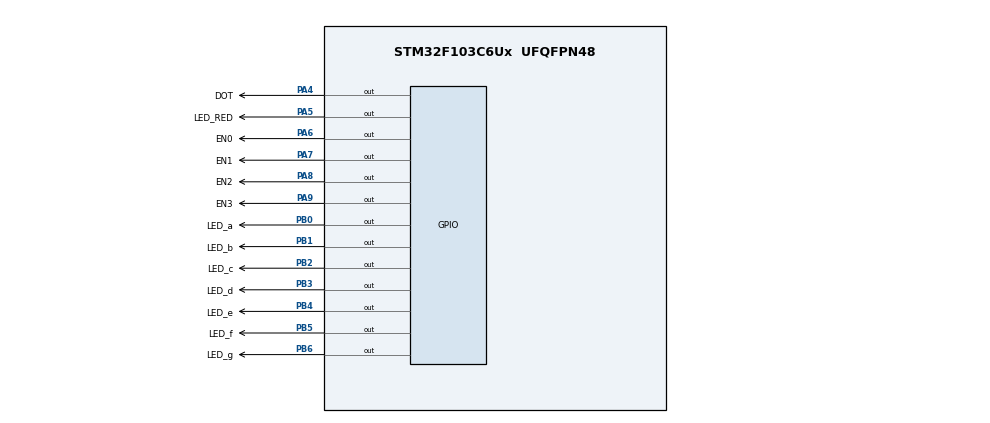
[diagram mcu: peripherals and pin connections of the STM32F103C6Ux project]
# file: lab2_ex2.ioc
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Mcu.Family=STM32F1
Mcu.Name=STM32F103C6Ux
Mcu.Package=UFQFPN48
NVIC.PriorityGroup=NVIC_PRIORITYGROUP_4
NVIC.TIM2_IRQn=true\:0\:0\:false\:false\:true\:true\:true\:true
PA4.GPIO_Label=DOT
PA4.Signal=GPIO_Output
PA5.GPIO_Label=LED_RED
PA5.Signal=GPIO_Output
PA6.GPIO_Label=EN0
PA6.Signal=GPIO_Output
PA7.GPIO_Label=EN1
PA7.Signal=GPIO_Output
PA8.GPIO_Label=EN2
PA8.Signal=GPIO_Output
PA9.GPIO_Label=EN3
PA9.Signal=GPIO_Output
PB0.GPIO_Label=LED_a
PB0.Signal=GPIO_Output
PB1.GPIO_Label=LED_b
PB1.Signal=GPIO_Output
PB2.GPIO_Label=LED_c
PB2.Signal=GPIO_Output
PB3.GPIO_Label=LED_d
PB3.Signal=GPIO_Output
PB4.GPIO_Label=LED_e
PB4.Signal=GPIO_Output
PB5.GPIO_Label=LED_f
PB5.Signal=GPIO_Output
PB6.GPIO_Label=LED_g
PB6.Signal=GPIO_Output
ProjectManager.HeapSize=0x200
ProjectManager.StackSize=0x400
ProjectManager.TargetToolchain=STM32CubeIDE
RCC.APB1Freq_Value=8000000
RCC.APB2Freq_Value=8000000
TIM2.Period=9
TIM2.Prescaler=7999
VP_SYS_VS_ND.Mode=No_Debug
VP_TIM2_VS_ClockSourceINT.Mode=Internal
board=custom

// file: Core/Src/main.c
/* USER CODE BEGIN Header */
/**
  ******************************************************************************
  * @file           : main.c
  * @brief          : Main program body
  ******************************************************************************
  * @attention
  *
  * Copyright (c) 2025 STMicroelectronics.
  * All rights reserved.
  *
  * This software is licensed under terms that can be found in the LICENSE file
  * in the root directory of this software component.
  * If no LICENSE file comes with this software, it is provided AS-IS.
  *
  ******************************************************************************
  */
/* USER CODE END Header */
#include "main.h"

TIM_HandleTypeDef htim2;

void SystemClock_Config(void);
static void MX_GPIO_Init(void);
static void MX_TIM2_Init(void);

/* USER CODE BEGIN 0 */

void clear7SEG() {
    HAL_GPIO_WritePin(LED_a_GPIO_Port, LED_a_Pin, GPIO_PIN_SET);
    HAL_GPIO_WritePin(LED_b_GPIO_Port, LED_b_Pin, GPIO_PIN_SET);
    HAL_GPIO_WritePin(LED_c_GPIO_Port, LED_c_Pin, GPIO_PIN_SET);
    HAL_GPIO_WritePin(LED_d_GPIO_Port, LED_d_Pin, GPIO_PIN_SET);
    HAL_GPIO_WritePin(LED_e_GPIO_Port, LED_e_Pin, GPIO_PIN_SET);
    HAL_GPIO_WritePin(LED_f_GPIO_Port, LED_f_Pin, GPIO_PIN_SET);
    HAL_GPIO_WritePin(LED_g_GPIO_Port, LED_g_Pin, GPIO_PIN_SET);
}

void display7SEG(int num){
	  // common anode => set = off; reset= on
	  clear7SEG();
	  switch(num){
	  case 0:
		  HAL_GPIO_WritePin(LED_g_GPIO_Port, LED_g_Pin, SET);

		  HAL_GPIO_WritePin(LED_a_GPIO_Port, LED_a_Pin, RESET);
		  HAL_GPIO_WritePin(LED_b_GPIO_Port, LED_b_Pin, RESET);
		  HAL_GPIO_WritePin(LED_c_GPIO_Port, LED_c_Pin, RESET);
		  HAL_GPIO_WritePin(LED_d_GPIO_Port, LED_d_Pin, RESET);
		  HAL_GPIO_WritePin(LED_e_GPIO_Port, LED_e_Pin, RESET);
		  HAL_GPIO_WritePin(LED_f_GPIO_Port, LED_f_Pin, RESET);
		  break;

	  case 1:
		  HAL_GPIO_WritePin(LED_a_GPIO_Port, LED_a_Pin, SET);
		  HAL_GPIO_WritePin(LED_f_GPIO_Port, LED_f_Pin, SET);
		  HAL_GPIO_WritePin(LED_e_GPIO_Port, LED_e_Pin, SET);
		  HAL_GPIO_WritePin(LED_d_GPIO_Port, LED_d_Pin, SET);

		  HAL_GPIO_WritePin(LED_b_GPIO_Port, LED_b_Pin, RESET);
		  HAL_GPIO_WritePin(LED_c_GPIO_Port, LED_c_Pin, RESET);
		  break;
     case 2: // a b d e g sang
         HAL_GPIO_WritePin(LED_a_GPIO_Port, LED_a_Pin, GPIO_PIN_RESET);
         HAL_GPIO_WritePin(LED_b_GPIO_Port, LED_b_Pin, GPIO_PIN_RESET);
         HAL_GPIO_WritePin(LED_c_GPIO_Port, LED_c_Pin, GPIO_PIN_SET);
         HAL_GPIO_WritePin(LED_d_GPIO_Port, LED_d_Pin, GPIO_PIN_RESET);
         HAL_GPIO_WritePin(LED_e_GPIO_Port, LED_e_Pin, GPIO_PIN_RESET);
         HAL_GPIO_WritePin(LED_f_GPIO_Port, LED_f_Pin, GPIO_PIN_SET);
         HAL_GPIO_WritePin(LED_g_GPIO_Port, LED_g_Pin, GPIO_PIN_RESET);
         break;
     case 3: // a b c d g sang
         HAL_GPIO_WritePin(LED_a_GPIO_Port, LED_a_Pin, GPIO_PIN_RESET);
         HAL_GPIO_WritePin(LED_b_GPIO_Port, LED_b_Pin, GPIO_PIN_RESET);
         HAL_GPIO_WritePin(LED_c_GPIO_Port, LED_c_Pin, GPIO_PIN_RESET);
         HAL_GPIO_WritePin(LED_d_GPIO_Port, LED_d_Pin, GPIO_PIN_RESET);
         HAL_GPIO_WritePin(LED_e_GPIO_Port, LED_e_Pin, GPIO_PIN_SET);
         HAL_GPIO_WritePin(LED_f_GPIO_Port, LED_f_Pin, GPIO_PIN_SET);
         HAL_GPIO_WritePin(LED_g_GPIO_Port, LED_g_Pin, GPIO_PIN_RESET);
         break;

     case 4: // b c f g sang
         HAL_GPIO_WritePin(LED_a_GPIO_Port, LED_a_Pin, GPIO_PIN_SET);
         HAL_GPIO_WritePin(LED_b_GPIO_Port, LED_b_Pin, GPIO_PIN_RESET);
         HAL_GPIO_WritePin(LED_c_GPIO_Port, LED_c_Pin, GPIO_PIN_RESET);
         HAL_GPIO_WritePin(LED_d_GPIO_Port, LED_d_Pin, GPIO_PIN_SET);
         HAL_GPIO_WritePin(LED_e_GPIO_Port, LED_e_Pin, GPIO_PIN_SET);
         HAL_GPIO_WritePin(LED_f_GPIO_Port, LED_f_Pin, GPIO_PIN_RESET);
         HAL_GPIO_WritePin(LED_g_GPIO_Port, LED_g_Pin, GPIO_PIN_RESET);
         break;

     case 5: // a c d f g sang
         HAL_GPIO_WritePin(LED_a_GPIO_Port, LED_a_Pin, GPIO_PIN_RESET);
         HAL_GPIO_WritePin(LED_b_GPIO_Port, LED_b_Pin, GPIO_PIN_SET);
         HAL_GPIO_WritePin(LED_c_GPIO_Port, LED_c_Pin, GPIO_PIN_RESET);
         HAL_GPIO_WritePin(LED_d_GPIO_Port, LED_d_Pin, GPIO_PIN_RESET);
         HAL_GPIO_WritePin(LED_e_GPIO_Port, LED_e_Pin, GPIO_PIN_SET);
         HAL_GPIO_WritePin(LED_f_GPIO_Port, LED_f_Pin, GPIO_PIN_RESET);
         HAL_GPIO_WritePin(LED_g_GPIO_Port, LED_g_Pin, GPIO_PIN_RESET);
         break;

     case 6: // a c d e f g sang
         HAL_GPIO_WritePin(LED_a_GPIO_Port, LED_a_Pin, GPIO_PIN_RESET);
         HAL_GPIO_WritePin(LED_b_GPIO_Port, LED_b_Pin, GPIO_PIN_SET);
         HAL_GPIO_WritePin(LED_c_GPIO_Port, LED_c_Pin, GPIO_PIN_RESET);
         HAL_GPIO_WritePin(LED_d_GPIO_Port, LED_d_Pin, GPIO_PIN_RESET);
         HAL_GPIO_WritePin(LED_e_GPIO_Port, LED_e_Pin, GPIO_PIN_RESET);
         HAL_GPIO_WritePin(LED_f_GPIO_Port, LED_f_Pin, GPIO_PIN_RESET);
         HAL_GPIO_WritePin(LED_g_GPIO_Port, LED_g_Pin, GPIO_PIN_RESET);
         break;

     case 7: // a b c sang
         HAL_GPIO_WritePin(LED_a_GPIO_Port, LED_a_Pin, GPIO_PIN_RESET);
         HAL_GPIO_WritePin(LED_b_GPIO_Port, LED_b_Pin, GPIO_PIN_RESET);
         HAL_GPIO_WritePin(LED_c_GPIO_Port, LED_c_Pin, GPIO_PIN_RESET);
         HAL_GPIO_WritePin(LED_d_GPIO_Port, LED_d_Pin, GPIO_PIN_SET);
         HAL_GPIO_WritePin(LED_e_GPIO_Port, LED_e_Pin, GPIO_PIN_SET);
         HAL_GPIO_WritePin(LED_f_GPIO_Port, LED_f_Pin, GPIO_PIN_SET);
         HAL_GPIO_WritePin(LED_g_GPIO_Port, LED_g_Pin, GPIO_PIN_SET);
         break;

     case 8: // all
         HAL_GPIO_WritePin(LED_a_GPIO_Port, LED_a_Pin, GPIO_PIN_RESET);
         HAL_GPIO_WritePin(LED_b_GPIO_Port, LED_b_Pin, GPIO_PIN_RESET);
         HAL_GPIO_WritePin(LED_c_GPIO_Port, LED_c_Pin, GPIO_PIN_RESET);
         HAL_GPIO_WritePin(LED_d_GPIO_Port, LED_d_Pin, GPIO_PIN_RESET);
         HAL_GPIO_WritePin(LED_e_GPIO_Port, LED_e_Pin, GPIO_PIN_RESET);
         HAL_GPIO_WritePin(LED_f_GPIO_Port, LED_f_Pin, GPIO_PIN_RESET);
         HAL_GPIO_WritePin(LED_g_GPIO_Port, LED_g_Pin, GPIO_PIN_RESET);
         break;

     case 9: // a b c d f g sang
         HAL_GPIO_WritePin(LED_a_GPIO_Port, LED_a_Pin, GPIO_PIN_RESET);
         HAL_GPIO_WritePin(LED_b_GPIO_Port, LED_b_Pin, GPIO_PIN_RESET);
         HAL_GPIO_WritePin(LED_c_GPIO_Port, LED_c_Pin, GPIO_PIN_RESET);
         HAL_GPIO_WritePin(LED_d_GPIO_Port, LED_d_Pin, GPIO_PIN_RESET);
         HAL_GPIO_WritePin(LED_e_GPIO_Port, LED_e_Pin, GPIO_PIN_SET);
         HAL_GPIO_WritePin(LED_f_GPIO_Port, LED_f_Pin, GPIO_PIN_RESET);
         HAL_GPIO_WritePin(LED_g_GPIO_Port, LED_g_Pin, GPIO_PIN_RESET);
         break;
	  }
 }

/* USER CODE END 0 */

int main(void)
{

  /* MCU Configuration--------------------------------------------------------*/

  /* Reset of all peripherals, Initializes the Flash interface and the Systick. */
  HAL_Init();

  /* Configure the system clock */
  SystemClock_Config();

  /* Initialize all configured peripherals */
  MX_GPIO_Init();
  MX_TIM2_Init();
  /* USER CODE BEGIN 2 */

   HAL_TIM_Base_Start_IT (&htim2);
  /* USER CODE END 2 */

  /* Infinite loop */
  while (1)
  {

  }
}

void SystemClock_Config(void)
{
  RCC_OscInitTypeDef RCC_OscInitStruct = {0};
  RCC_ClkInitTypeDef RCC_ClkInitStruct = {0};

  /** Initializes the RCC Oscillators according to the specified parameters
  * in the RCC_OscInitTypeDef structure.
  */
  RCC_OscInitStruct.OscillatorType = RCC_OSCILLATORTYPE_HSI;
  RCC_OscInitStruct.HSIState = RCC_HSI_ON;
  RCC_OscInitStruct.HSICalibrationValue = RCC_HSICALIBRATION_DEFAULT;
  RCC_OscInitStruct.PLL.PLLState = RCC_PLL_NONE;
  if (HAL_RCC_OscConfig(&RCC_OscInitStruct) != HAL_OK)
  {
    Error_Handler();
  }

  /** Initializes the CPU, AHB and APB buses clocks
  */
  RCC_ClkInitStruct.ClockType = RCC_CLOCKTYPE_HCLK|RCC_CLOCKTYPE_SYSCLK
                              |RCC_CLOCKTYPE_PCLK1|RCC_CLOCKTYPE_PCLK2;
  RCC_ClkInitStruct.SYSCLKSource = RCC_SYSCLKSOURCE_HSI;
  RCC_ClkInitStruct.AHBCLKDivider = RCC_SYSCLK_DIV1;
  RCC_ClkInitStruct.APB1CLKDivider = RCC_HCLK_DIV1;
  RCC_ClkInitStruct.APB2CLKDivider = RCC_HCLK_DIV1;

  if (HAL_RCC_ClockConfig(&RCC_ClkInitStruct, FLASH_LATENCY_0) != HAL_OK)
  {
    Error_Handler();
  }
}

static void MX_TIM2_Init(void)
{

  TIM_ClockConfigTypeDef sClockSourceConfig = {0};
  TIM_MasterConfigTypeDef sMasterConfig = {0};

  htim2.Instance = TIM2;
  htim2.Init.Prescaler = 7999;
  htim2.Init.CounterMode = TIM_COUNTERMODE_UP;
  htim2.Init.Period = 9;
  htim2.Init.ClockDivision = TIM_CLOCKDIVISION_DIV1;
  htim2.Init.AutoReloadPreload = TIM_AUTORELOAD_PRELOAD_DISABLE;
  if (HAL_TIM_Base_Init(&htim2) != HAL_OK)
  {
    Error_Handler();
  }
  sClockSourceConfig.ClockSource = TIM_CLOCKSOURCE_INTERNAL;
  if (HAL_TIM_ConfigClockSource(&htim2, &sClockSourceConfig) != HAL_OK)
  {
    Error_Handler();
  }
  sMasterConfig.MasterOutputTrigger = TIM_TRGO_RESET;
  sMasterConfig.MasterSlaveMode = TIM_MASTERSLAVEMODE_DISABLE;
  if (HAL_TIMEx_MasterConfigSynchronization(&htim2, &sMasterConfig) != HAL_OK)
  {
    Error_Handler();
  }

}

static void MX_GPIO_Init(void)
{
  GPIO_InitTypeDef GPIO_InitStruct = {0};

  /* GPIO Ports Clock Enable */
  __HAL_RCC_GPIOA_CLK_ENABLE();
  __HAL_RCC_GPIOB_CLK_ENABLE();

  /*Configure GPIO pin Output Level */
  HAL_GPIO_WritePin(GPIOA, DOT_Pin|LED_RED_Pin|EN0_Pin|EN1_Pin
                          |EN2_Pin|EN3_Pin, GPIO_PIN_RESET);

  /*Configure GPIO pin Output Level */
  HAL_GPIO_WritePin(GPIOB, LED_a_Pin|LED_b_Pin|LED_c_Pin|LED_d_Pin
                          |LED_e_Pin|LED_f_Pin|LED_g_Pin, GPIO_PIN_RESET);

  /*Configure GPIO pins : DOT_Pin LED_RED_Pin EN0_Pin EN1_Pin
                           EN2_Pin EN3_Pin */
  GPIO_InitStruct.Pin = DOT_Pin|LED_RED_Pin|EN0_Pin|EN1_Pin
                          |EN2_Pin|EN3_Pin;
  GPIO_InitStruct.Mode = GPIO_MODE_OUTPUT_PP;
  GPIO_InitStruct.Pull = GPIO_NOPULL;
  GPIO_InitStruct.Speed = GPIO_SPEED_FREQ_LOW;
  HAL_GPIO_Init(GPIOA, &GPIO_InitStruct);

  /*Configure GPIO pins : LED_a_Pin LED_b_Pin LED_c_Pin LED_d_Pin
                           LED_e_Pin LED_f_Pin LED_g_Pin */
  GPIO_InitStruct.Pin = LED_a_Pin|LED_b_Pin|LED_c_Pin|LED_d_Pin
                          |LED_e_Pin|LED_f_Pin|LED_g_Pin;
  GPIO_InitStruct.Mode = GPIO_MODE_OUTPUT_PP;
  GPIO_InitStruct.Pull = GPIO_NOPULL;
  GPIO_InitStruct.Speed = GPIO_SPEED_FREQ_LOW;
  HAL_GPIO_Init(GPIOB, &GPIO_InitStruct);

}

/* USER CODE BEGIN 4 */
void clearEN() {
    HAL_GPIO_WritePin(EN0_GPIO_Port, EN0_Pin, GPIO_PIN_SET);
    HAL_GPIO_WritePin(EN1_GPIO_Port, EN1_Pin, GPIO_PIN_SET);
    HAL_GPIO_WritePin(EN2_GPIO_Port, EN2_Pin, GPIO_PIN_SET);
    HAL_GPIO_WritePin(EN3_GPIO_Port, EN3_Pin, GPIO_PIN_SET);
}

int tick = 0;

void HAL_TIM_PeriodElapsedCallback(TIM_HandleTypeDef *htim) {
    static int seg_index = 0;
    static int scan_counter = 0;

    tick++;

    // Nhấp nháy DOT mỗi 500ms
    if (tick % 50 == 0) {
        HAL_GPIO_TogglePin(DOT_GPIO_Port, DOT_Pin);
    }

    scan_counter++;
    if (scan_counter >= 50) {
        scan_counter = 0;

        clearEN();

        switch(seg_index) {
            case 0:
                display7SEG(1);
                HAL_GPIO_WritePin(EN0_GPIO_Port, EN0_Pin, GPIO_PIN_RESET);
                break;
            case 1:
                display7SEG(2);
                HAL_GPIO_WritePin(EN1_GPIO_Port, EN1_Pin, GPIO_PIN_RESET);
                break;
            case 2:
                display7SEG(3);
                HAL_GPIO_WritePin(EN2_GPIO_Port, EN2_Pin, GPIO_PIN_RESET);
                break;
            case 3:
                display7SEG(0);
                HAL_GPIO_WritePin(EN3_GPIO_Port, EN3_Pin, GPIO_PIN_RESET);
                break;
        }

        seg_index = (seg_index + 1) % 4;
    }
}

/* USER CODE END 4 */

void Error_Handler(void)
{
  __disable_irq();
}
